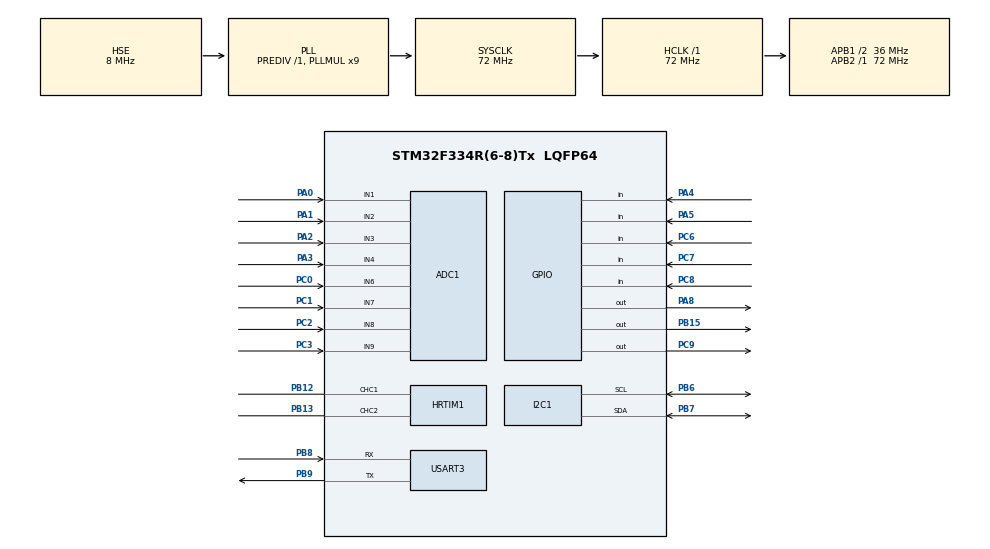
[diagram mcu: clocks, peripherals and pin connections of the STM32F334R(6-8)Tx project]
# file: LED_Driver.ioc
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ADC1.Channel-30\#ChannelRegularConversion=ADC_CHANNEL_4
ADC1.Channel-31\#ChannelRegularConversion=ADC_CHANNEL_8
ADC1.Channel-32\#ChannelRegularConversion=ADC_CHANNEL_7
ADC1.Channel-33\#ChannelRegularConversion=ADC_CHANNEL_TEMPSENSOR
ADC1.DMAContinuousRequests=ENABLE
ADC1.EOCSelection=ADC_EOC_SEQ_CONV
ADC1.EnableAnalogWatchDog1=false
ADC1.EnableInjectedConversion=DISABLE
ADC1.EnableRegularConversion=ENABLE
ADC1.ExternalTrigConv=ADC_EXTERNALTRIGCONVHRTIM_TRG1
ADC1.NbrOfConversion=4
ADC1.NbrOfConversionFlag=1
ADC1.Offset-30\#ChannelRegularConversion=0
ADC1.Offset-31\#ChannelRegularConversion=0
ADC1.Offset-32\#ChannelRegularConversion=0
ADC1.Offset-33\#ChannelRegularConversion=0
ADC1.OffsetNumber-30\#ChannelRegularConversion=ADC_OFFSET_NONE
ADC1.OffsetNumber-31\#ChannelRegularConversion=ADC_OFFSET_NONE
ADC1.OffsetNumber-32\#ChannelRegularConversion=ADC_OFFSET_NONE
ADC1.OffsetNumber-33\#ChannelRegularConversion=ADC_OFFSET_NONE
ADC1.Rank-30\#ChannelRegularConversion=1
ADC1.Rank-31\#ChannelRegularConversion=2
ADC1.Rank-32\#ChannelRegularConversion=3
ADC1.Rank-33\#ChannelRegularConversion=4
ADC1.SamplingTime-30\#ChannelRegularConversion=ADC_SAMPLETIME_61CYCLES_5
ADC1.SamplingTime-31\#ChannelRegularConversion=ADC_SAMPLETIME_61CYCLES_5
ADC1.SamplingTime-32\#ChannelRegularConversion=ADC_SAMPLETIME_61CYCLES_5
ADC1.SamplingTime-33\#ChannelRegularConversion=ADC_SAMPLETIME_61CYCLES_5
ADC1.SamplingTimeOPAMP-33\#ChannelRegularConversion=ADC_SAMPLETIME_61CYCLES_5
ADC1.SequencerNbRanks=0
ADC1.SubFamily=STM32F334x8
ADC1.master=1
Dma.ADC1.0.Direction=DMA_PERIPH_TO_MEMORY
Dma.ADC1.0.Instance=DMA1_Channel1
Dma.ADC1.0.MemDataAlignment=DMA_MDATAALIGN_HALFWORD
Dma.ADC1.0.MemInc=DMA_MINC_ENABLE
Dma.ADC1.0.Mode=DMA_CIRCULAR
Dma.ADC1.0.PeriphDataAlignment=DMA_PDATAALIGN_HALFWORD
Dma.ADC1.0.PeriphInc=DMA_PINC_DISABLE
Dma.ADC1.0.Priority=DMA_PRIORITY_VERY_HIGH
Dma.Request0=ADC1
HRTIM1.ADCTrigger1_Source1=HRTIM_ADCTRIGGEREVENT13_TIMERC_PERIOD
HRTIM1.ADCTrigger_Id1=HRTIM_ADCTRIGGER_1
HRTIM1.ADCTrigger_Id2=__NULL
HRTIM1.CompareUnit1-Output_TC1TC2=HRTIM_COMPAREUNIT_1
HRTIM1.CompareUnit2-Output_TC1TC2=HRTIM_COMPAREUNIT_2
HRTIM1.DeadTimeInsertion-Output_TC1TC2=HRTIM_TIMDEADTIMEINSERTION_ENABLED
HRTIM1.Deadtimeconfig-Output_TC1TC2=HRTIM_TIMERINDEX_TIMER_C
HRTIM1.Enable=HRTIM_BURSTMODECTL_DISABLED
HRTIM1.FallingValue-Output_TC1TC2=50
HRTIM1.NumberADCTriggerSource1=1
HRTIM1.NumberResetSource1-Output_TC1TC2=1
HRTIM1.NumberResetSource2_TC=0
HRTIM1.NumberSetSource1-Output_TC1TC2=1
HRTIM1.NumberSetSource2_TC=0
HRTIM1.Periode_TC=11520
HRTIM1.PrescalerRatio_TC=HRTIM_PRESCALERRATIO_MUL2
HRTIM1.ResetOutput1_Source1-Output_TC1TC2=HRTIM_OUTPUTRESET_TIMCMP2
HRTIM1.RisingValue-Output_TC1TC2=50
HRTIM1.SetOutput1_Source1-Output_TC1TC2=HRTIM_OUTPUTSET_TIMCMP1
IWDG.Prescaler=IWDG_PRESCALER_256
IWDG.Reload=1250
Mcu.Family=STM32F3
Mcu.Name=STM32F334R(6-8)Tx
Mcu.Package=LQFP64
NVIC.ADC1_2_IRQn=true\:0\:0\:false\:false\:true\:true\:true\:true
NVIC.DMA1_Channel1_IRQn=true\:2\:0\:true\:false\:true\:false\:true\:true
NVIC.PriorityGroup=NVIC_PRIORITYGROUP_4
NVIC.USART3_IRQn=true\:0\:0\:false\:false\:false\:true\:true\:true
PA0.Mode=IN1-Single-Ended
PA0.Signal=ADC1_IN1
PA1.Mode=IN2-Single-Ended
PA1.Signal=ADC1_IN2
PA13.Mode=JTAG_5_pins
PA13.Signal=SYS_JTMS-SWDIO
PA14.Mode=JTAG_5_pins
PA14.Signal=SYS_JTCK-SWCLK
PA15.Mode=JTAG_5_pins
PA15.Signal=SYS_JTDI
PA2.Mode=IN3-Single-Ended
PA2.Signal=ADC1_IN3
PA3.Mode=IN4-Single-Ended
PA3.Signal=ADC1_IN4
PA4.GPIO_PuPd=GPIO_PULLUP
PA4.Signal=GPIO_Input
PA5.GPIO_PuPd=GPIO_PULLUP
PA5.Signal=GPIO_Input
PA8.Signal=GPIO_Output
PB12.Mode=Output_TC1TC2
PB12.Signal=HRTIM1_CHC1
PB13.Mode=Output_TC1TC2
PB13.Signal=HRTIM1_CHC2
PB15.Signal=GPIO_Output
PB3.Mode=JTAG_5_pins
PB3.Signal=SYS_JTDO-TRACESWO
PB4.Mode=JTAG_5_pins
PB4.Signal=SYS_NJTRST
PB6.Mode=I2C
PB6.Signal=I2C1_SCL
PB7.Mode=I2C
PB7.Signal=I2C1_SDA
PB8.Mode=Asynchronous
PB8.Signal=USART3_RX
PB9.Mode=Asynchronous
PB9.Signal=USART3_TX
PC0.Signal=ADCx_IN6
PC1.Signal=ADCx_IN7
PC2.Signal=ADCx_IN8
PC3.Signal=ADCx_IN9
PC6.GPIO_PuPd=GPIO_PULLUP
PC6.Signal=GPIO_Input
PC7.GPIO_PuPd=GPIO_PULLUP
PC7.Signal=GPIO_Input
PC8.GPIO_PuPd=GPIO_PULLUP
PC8.Signal=GPIO_Input
PC9.Signal=GPIO_Output
PF0\ /\ OSC_IN.Mode=HSE-External-Oscillator
PF0\ /\ OSC_IN.Signal=RCC_OSC_IN
PF1\ /\ OSC_OUT.Mode=HSE-External-Oscillator
PF1\ /\ OSC_OUT.Signal=RCC_OSC_OUT
ProjectManager.HeapSize=0x200
ProjectManager.StackSize=0x400
ProjectManager.TargetToolchain=MDK-ARM V5.32
RCC.AHBFreq_Value=72000000
RCC.APB1CLKDivider=RCC_HCLK_DIV2
RCC.APB1Freq_Value=36000000
RCC.APB1TimFreq_Value=72000000
RCC.APB2Freq_Value=72000000
RCC.APB2TimFreq_Value=72000000
RCC.CortexFreq_Value=72000000
RCC.HCLKFreq_Value=72000000
RCC.HRTIMSelection=RCC_HRTIM1CLK_PLLCLK
RCC.HSE_VALUE=8000000
RCC.HSI_VALUE=8000000
RCC.LSE_VALUE=32768
RCC.PLLMUL=RCC_PLL_MUL9
RCC.PLLSourceVirtual=RCC_PLLSOURCE_HSE
RCC.SYSCLKFreq_VALUE=72000000
RCC.SYSCLKSourceVirtual=RCC_SYSCLKSOURCE_PLLCLK
SH.ADCx_IN6.0=ADC1_IN6,IN6-Single-Ended
SH.ADCx_IN7.0=ADC1_IN7,IN7-Single-Ended
SH.ADCx_IN8.0=ADC1_IN8,IN8-Single-Ended
SH.ADCx_IN9.0=ADC1_IN9,IN9-Single-Ended
STMicroelectronics.X-CUBE-ALGOBUILD.1.3.0.LibraryCcDSPOoLibraryJjDSPOoLibrary=true
TIM2.AutoReloadPreload=TIM_AUTORELOAD_PRELOAD_ENABLE
TIM2.Period=333
USART3.SwapParam=ADVFEATURE_SWAP_ENABLE
USART3.VirtualMode-Asynchronous=VM_ASYNC
VP_ADC1_TempSens_Input.Mode=IN-TempSens
VP_IWDG_VS_IWDG.Mode=IWDG_Activate
VP_STMicroelectronics.X-CUBE-ALGOBUILD_VS_DSPOoLibraryJjLibrary_1.3.0_1.3.0.Mode=DSPOoLibraryJjLibrary
VP_TIM2_VS_ClockSourceINT.Mode=Internal
board=custom

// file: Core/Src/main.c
/* USER CODE BEGIN Header */
/**
  ******************************************************************************
  * @file           : main.c
  * @brief          : Main program body
  ******************************************************************************
  * @attention
  *
  * Copyright (c) 2023 STMicroelectronics.
  * All rights reserved.
  *
  * This software is licensed under terms that can be found in the LICENSE file
  * in the root directory of this software component.
  * If no LICENSE file comes with this software, it is provided AS-IS.
  *
  ******************************************************************************
  */
/* USER CODE END Header */
#include "main.h"

/* USER CODE BEGIN Includes */
#include "Function.h"
/* USER CODE END Includes */

I2C_HandleTypeDef hi2c1;

IWDG_HandleTypeDef hiwdg;

TIM_HandleTypeDef htim2;

void SystemClock_Config(void);
static void MX_GPIO_Init(void);
static void MX_DMA_Init(void);
static void MX_ADC1_Init(void);
static void MX_HRTIM1_Init(void);
static void MX_I2C1_Init(void);
static void MX_USART3_UART_Init(void);
static void MX_TIM2_Init(void);
static void MX_IWDG_Init(void);

int main(void)
{

  /* MCU Configuration--------------------------------------------------------*/

  /* Reset of all peripherals, Initializes the Flash interface and the Systick. */
  HAL_Init();

  /* Configure the system clock */
  SystemClock_Config();

  /* Initialize all configured peripherals */
  MX_GPIO_Init();
  MX_DMA_Init();
  MX_ADC1_Init();
  MX_HRTIM1_Init();
  MX_I2C1_Init();
  MX_TIM2_Init();
  MX_IWDG_Init();
	MX_USART3_UART_Init();
  /* USER CODE BEGIN 2 */
  setup();
  /* USER CODE END 2 */

  /* Infinite loop */
  /* USER CODE BEGIN WHILE */
//清除所有错误标志
		LL_USART_ClearFlag_ORE(USART3);
		LL_USART_ClearFlag_FE(USART3);
		LL_USART_ClearFlag_NE(USART3);
//然后使能接收中断
		LL_USART_EnableIT_RXNE(USART3);
  while (1)
  {
		HAL_IWDG_Refresh(&hiwdg);  //喂狗
	  loop();
		//LL_USART_TransmitData8(USART3, 3);
    /* USER CODE END WHILE */

  }
}

void SystemClock_Config(void)
{
  RCC_OscInitTypeDef RCC_OscInitStruct = {0};
  RCC_ClkInitTypeDef RCC_ClkInitStruct = {0};
  RCC_PeriphCLKInitTypeDef PeriphClkInit = {0};

  /** Initializes the RCC Oscillators according to the specified parameters
  * in the RCC_OscInitTypeDef structure.
  */
  RCC_OscInitStruct.OscillatorType = RCC_OSCILLATORTYPE_HSI|RCC_OSCILLATORTYPE_LSI
                              |RCC_OSCILLATORTYPE_HSE;
  RCC_OscInitStruct.HSEState = RCC_HSE_ON;
  RCC_OscInitStruct.HSEPredivValue = RCC_HSE_PREDIV_DIV1;
  RCC_OscInitStruct.HSIState = RCC_HSI_ON;
  RCC_OscInitStruct.HSICalibrationValue = RCC_HSICALIBRATION_DEFAULT;
  RCC_OscInitStruct.LSIState = RCC_LSI_ON;
  RCC_OscInitStruct.PLL.PLLState = RCC_PLL_ON;
  RCC_OscInitStruct.PLL.PLLSource = RCC_PLLSOURCE_HSE;
  RCC_OscInitStruct.PLL.PLLMUL = RCC_PLL_MUL9;
  if (HAL_RCC_OscConfig(&RCC_OscInitStruct) != HAL_OK)
  {
    Error_Handler();
  }

  /** Initializes the CPU, AHB and APB buses clocks
  */
  RCC_ClkInitStruct.ClockType = RCC_CLOCKTYPE_HCLK|RCC_CLOCKTYPE_SYSCLK
                              |RCC_CLOCKTYPE_PCLK1|RCC_CLOCKTYPE_PCLK2;
  RCC_ClkInitStruct.SYSCLKSource = RCC_SYSCLKSOURCE_PLLCLK;
  RCC_ClkInitStruct.AHBCLKDivider = RCC_SYSCLK_DIV1;
  RCC_ClkInitStruct.APB1CLKDivider = RCC_HCLK_DIV2;
  RCC_ClkInitStruct.APB2CLKDivider = RCC_HCLK_DIV1;

  if (HAL_RCC_ClockConfig(&RCC_ClkInitStruct, FLASH_LATENCY_2) != HAL_OK)
  {
    Error_Handler();
  }
  PeriphClkInit.PeriphClockSelection = RCC_PERIPHCLK_HRTIM1|RCC_PERIPHCLK_I2C1
                              |RCC_PERIPHCLK_ADC12;
  PeriphClkInit.Adc12ClockSelection = RCC_ADC12PLLCLK_DIV1;
  PeriphClkInit.I2c1ClockSelection = RCC_I2C1CLKSOURCE_HSI;
  PeriphClkInit.Hrtim1ClockSelection = RCC_HRTIM1CLK_PLLCLK;
  if (HAL_RCCEx_PeriphCLKConfig(&PeriphClkInit) != HAL_OK)
  {
    Error_Handler();
  }
}

static void MX_ADC1_Init(void)
{

  LL_ADC_InitTypeDef ADC_InitStruct = {0};
  LL_ADC_REG_InitTypeDef ADC_REG_InitStruct = {0};
  LL_ADC_CommonInitTypeDef ADC_CommonInitStruct = {0};

  LL_GPIO_InitTypeDef GPIO_InitStruct = {0};

  /* Peripheral clock enable */
  LL_AHB1_GRP1_EnableClock(LL_AHB1_GRP1_PERIPH_ADC12);

  LL_AHB1_GRP1_EnableClock(LL_AHB1_GRP1_PERIPH_GPIOC);
  LL_AHB1_GRP1_EnableClock(LL_AHB1_GRP1_PERIPH_GPIOA);
  /**ADC1 GPIO Configuration
  PC0   ------> ADC1_IN6
  PC1   ------> ADC1_IN7
  PC2   ------> ADC1_IN8
  PC3   ------> ADC1_IN9
  PA0   ------> ADC1_IN1
  PA1   ------> ADC1_IN2
  PA2   ------> ADC1_IN3
  PA3   ------> ADC1_IN4
  */
  GPIO_InitStruct.Pin = LL_GPIO_PIN_0|LL_GPIO_PIN_1|LL_GPIO_PIN_2|LL_GPIO_PIN_3;
  GPIO_InitStruct.Mode = LL_GPIO_MODE_ANALOG;
  GPIO_InitStruct.Pull = LL_GPIO_PULL_NO;
  LL_GPIO_Init(GPIOC, &GPIO_InitStruct);

  GPIO_InitStruct.Pin = LL_GPIO_PIN_0|LL_GPIO_PIN_1|LL_GPIO_PIN_2|LL_GPIO_PIN_3;
  GPIO_InitStruct.Mode = LL_GPIO_MODE_ANALOG;
  GPIO_InitStruct.Pull = LL_GPIO_PULL_NO;
  LL_GPIO_Init(GPIOA, &GPIO_InitStruct);

  /* ADC1 DMA Init */

  /* ADC1 Init */
  LL_DMA_SetDataTransferDirection(DMA1, LL_DMA_CHANNEL_1, LL_DMA_DIRECTION_PERIPH_TO_MEMORY);

  LL_DMA_SetChannelPriorityLevel(DMA1, LL_DMA_CHANNEL_1, LL_DMA_PRIORITY_VERYHIGH);

  LL_DMA_SetMode(DMA1, LL_DMA_CHANNEL_1, LL_DMA_MODE_CIRCULAR);

  LL_DMA_SetPeriphIncMode(DMA1, LL_DMA_CHANNEL_1, LL_DMA_PERIPH_NOINCREMENT);

  LL_DMA_SetMemoryIncMode(DMA1, LL_DMA_CHANNEL_1, LL_DMA_MEMORY_INCREMENT);

  LL_DMA_SetPeriphSize(DMA1, LL_DMA_CHANNEL_1, LL_DMA_PDATAALIGN_HALFWORD);

  LL_DMA_SetMemorySize(DMA1, LL_DMA_CHANNEL_1, LL_DMA_MDATAALIGN_HALFWORD);

  /* ADC1 interrupt Init */
  NVIC_SetPriority(ADC1_2_IRQn, NVIC_EncodePriority(NVIC_GetPriorityGrouping(),0, 0));
  NVIC_EnableIRQ(ADC1_2_IRQn);

  /** Common config
  */
  ADC_InitStruct.Resolution = LL_ADC_RESOLUTION_12B;
  ADC_InitStruct.DataAlignment = LL_ADC_DATA_ALIGN_RIGHT;
  ADC_InitStruct.LowPowerMode = LL_ADC_LP_MODE_NONE;
  LL_ADC_Init(ADC1, &ADC_InitStruct);
  ADC_REG_InitStruct.TriggerSource = LL_ADC_REG_TRIG_EXT_HRTIM_TRG1;
  ADC_REG_InitStruct.SequencerLength = LL_ADC_REG_SEQ_SCAN_ENABLE_4RANKS;
  ADC_REG_InitStruct.SequencerDiscont = LL_ADC_REG_SEQ_DISCONT_DISABLE;
  ADC_REG_InitStruct.ContinuousMode = LL_ADC_REG_CONV_SINGLE;
  ADC_REG_InitStruct.DMATransfer = LL_ADC_REG_DMA_TRANSFER_UNLIMITED;
  ADC_REG_InitStruct.Overrun = LL_ADC_REG_OVR_DATA_OVERWRITTEN;
  LL_ADC_REG_Init(ADC1, &ADC_REG_InitStruct);
  ADC_CommonInitStruct.CommonClock = LL_ADC_CLOCK_ASYNC_DIV1;
  ADC_CommonInitStruct.Multimode = LL_ADC_MULTI_INDEPENDENT;
  LL_ADC_CommonInit(__LL_ADC_COMMON_INSTANCE(ADC1), &ADC_CommonInitStruct);
  LL_ADC_REG_SetTriggerEdge(ADC1, LL_ADC_REG_TRIG_EXT_RISING);

  /* Enable ADC internal voltage regulator */
  LL_ADC_EnableInternalRegulator(ADC1);
  /* Delay for ADC internal voltage regulator stabilization. */
  /* Compute number of CPU cycles to wait for, from delay in us. */
  /* Note: Variable divided by 2 to compensate partially */
  /* CPU processing cycles (depends on compilation optimization). */
  /* Note: If system core clock frequency is below 200kHz, wait time */
  /* is only a few CPU processing cycles. */
  uint32_t wait_loop_index;
  wait_loop_index = ((LL_ADC_DELAY_INTERNAL_REGUL_STAB_US * (SystemCoreClock / (100000 * 2))) / 10);
  while(wait_loop_index != 0)
  {
    wait_loop_index--;
  }

  /** Configure Regular Channel
  */
  LL_ADC_REG_SetSequencerRanks(ADC1, LL_ADC_REG_RANK_1, LL_ADC_CHANNEL_4);
  LL_ADC_SetChannelSamplingTime(ADC1, LL_ADC_CHANNEL_4, LL_ADC_SAMPLINGTIME_61CYCLES_5);
  LL_ADC_SetChannelSingleDiff(ADC1, LL_ADC_CHANNEL_4, LL_ADC_SINGLE_ENDED);

  /** Configure Regular Channel
  */
  LL_ADC_REG_SetSequencerRanks(ADC1, LL_ADC_REG_RANK_2, LL_ADC_CHANNEL_8);
  LL_ADC_SetChannelSamplingTime(ADC1, LL_ADC_CHANNEL_8, LL_ADC_SAMPLINGTIME_61CYCLES_5);
  LL_ADC_SetChannelSingleDiff(ADC1, LL_ADC_CHANNEL_8, LL_ADC_SINGLE_ENDED);

  /** Configure Regular Channel
  */
  LL_ADC_REG_SetSequencerRanks(ADC1, LL_ADC_REG_RANK_3, LL_ADC_CHANNEL_7);
  LL_ADC_SetChannelSamplingTime(ADC1, LL_ADC_CHANNEL_7, LL_ADC_SAMPLINGTIME_61CYCLES_5);
  LL_ADC_SetChannelSingleDiff(ADC1, LL_ADC_CHANNEL_7, LL_ADC_SINGLE_ENDED);

  /** Configure Regular Channel
  */
  LL_ADC_REG_SetSequencerRanks(ADC1, LL_ADC_REG_RANK_4, LL_ADC_CHANNEL_TEMPSENSOR);
  LL_ADC_SetChannelSamplingTime(ADC1, LL_ADC_CHANNEL_TEMPSENSOR, LL_ADC_SAMPLINGTIME_61CYCLES_5);
  LL_ADC_SetChannelSingleDiff(ADC1, LL_ADC_CHANNEL_TEMPSENSOR, LL_ADC_SINGLE_ENDED);
  LL_ADC_SetCommonPathInternalCh(__LL_ADC_COMMON_INSTANCE(ADC1), LL_ADC_PATH_INTERNAL_TEMPSENSOR);

}

static void MX_HRTIM1_Init(void)
{

  LL_GPIO_InitTypeDef GPIO_InitStruct = {0};

  /* Peripheral clock enable */
  LL_APB2_GRP1_EnableClock(LL_APB2_GRP1_PERIPH_HRTIM1);

  LL_HRTIM_ConfigDLLCalibration(HRTIM1, LL_HRTIM_DLLCALIBRATION_MODE_CONTINUOUS, LL_HRTIM_DLLCALIBRATION_RATE_14);

  /* Poll for DLL end of calibration */
#if (USE_TIMEOUT == 1)
  uint32_t Timeout = 10; /* Timeout Initialization */
#endif  /*USE_TIMEOUT*/

  while(LL_HRTIM_IsActiveFlag_DLLRDY(HRTIM1) == RESET){
#if (USE_TIMEOUT == 1)
    if (LL_SYSTICK_IsActiveCounterFlag())  /* Check Systick counter flag to decrement the time-out value */
    {
        if(Timeout-- == 0)
        {
          Error_Handler();  /* error management */
        }
    }
#endif  /* USE_TIMEOUT */
  }

  LL_HRTIM_ConfigADCTrig(HRTIM1, LL_HRTIM_ADCTRIG_1, LL_HRTIM_ADCTRIG_UPDATE_TIMER_C, LL_HRTIM_ADCTRIG_SRC13_TIMCPER);
  LL_HRTIM_TIM_SetPrescaler(HRTIM1, LL_HRTIM_TIMER_C, LL_HRTIM_PRESCALERRATIO_MUL2);
  LL_HRTIM_TIM_SetCounterMode(HRTIM1, LL_HRTIM_TIMER_C, LL_HRTIM_MODE_CONTINUOUS);
  LL_HRTIM_TIM_SetPeriod(HRTIM1, LL_HRTIM_TIMER_C, 11520);
  LL_HRTIM_TIM_SetRepetition(HRTIM1, LL_HRTIM_TIMER_C, 0x00);
  LL_HRTIM_TIM_SetDACTrig(HRTIM1, LL_HRTIM_TIMER_C, LL_HRTIM_DACTRIG_NONE);
  LL_HRTIM_TIM_DisableHalfMode(HRTIM1, LL_HRTIM_TIMER_C);
  LL_HRTIM_TIM_DisableStartOnSync(HRTIM1, LL_HRTIM_TIMER_C);
  LL_HRTIM_TIM_DisableResetOnSync(HRTIM1, LL_HRTIM_TIMER_C);
  LL_HRTIM_TIM_DisablePreload(HRTIM1, LL_HRTIM_TIMER_C);
  LL_HRTIM_TIM_SetUpdateGating(HRTIM1, LL_HRTIM_TIMER_C, LL_HRTIM_UPDATEGATING_INDEPENDENT);
  LL_HRTIM_TIM_SetUpdateTrig(HRTIM1, LL_HRTIM_TIMER_C, LL_HRTIM_UPDATETRIG_NONE|LL_HRTIM_UPDATETRIG_NONE);
  LL_HRTIM_TIM_SetResetTrig(HRTIM1, LL_HRTIM_TIMER_C, LL_HRTIM_RESETTRIG_NONE);
  LL_HRTIM_TIM_DisablePushPullMode(HRTIM1, LL_HRTIM_TIMER_C);
  LL_HRTIM_TIM_EnableDeadTime(HRTIM1, LL_HRTIM_TIMER_C);
  LL_HRTIM_TIM_SetBurstModeOption(HRTIM1, LL_HRTIM_TIMER_C, LL_HRTIM_BURSTMODE_MAINTAINCLOCK);
  LL_HRTIM_ForceUpdate(HRTIM1, LL_HRTIM_TIMER_C);
  LL_HRTIM_TIM_SetCompare1(HRTIM1, LL_HRTIM_TIMER_C, 0xFFFD);
  LL_HRTIM_TIM_SetCompare2(HRTIM1, LL_HRTIM_TIMER_C, 0xFFFD);
  LL_HRTIM_TIM_SetCompareMode(HRTIM1, LL_HRTIM_TIMER_C, LL_HRTIM_COMPAREUNIT_2, LL_HRTIM_COMPAREMODE_REGULAR);
  LL_HRTIM_DT_SetPrescaler(HRTIM1, LL_HRTIM_TIMER_C, LL_HRTIM_DT_PRESCALER_MUL8);
  LL_HRTIM_DT_SetRisingValue(HRTIM1, LL_HRTIM_TIMER_C, 50);
  LL_HRTIM_DT_SetRisingSign(HRTIM1, LL_HRTIM_TIMER_C, LL_HRTIM_DT_RISING_POSITIVE);
  LL_HRTIM_DT_SetFallingValue(HRTIM1, LL_HRTIM_TIMER_C, 50);
  LL_HRTIM_DT_SetFallingSign(HRTIM1, LL_HRTIM_TIMER_C, LL_HRTIM_DT_FALLING_POSITIVE);
  LL_HRTIM_OUT_SetPolarity(HRTIM1, LL_HRTIM_OUTPUT_TC1, LL_HRTIM_OUT_POSITIVE_POLARITY);
  LL_HRTIM_OUT_SetOutputSetSrc(HRTIM1, LL_HRTIM_OUTPUT_TC1, LL_HRTIM_CROSSBAR_TIMCMP1);
  LL_HRTIM_OUT_SetOutputResetSrc(HRTIM1, LL_HRTIM_OUTPUT_TC1, LL_HRTIM_CROSSBAR_TIMCMP2);
  LL_HRTIM_OUT_SetIdleMode(HRTIM1, LL_HRTIM_OUTPUT_TC1, LL_HRTIM_OUT_NO_IDLE);
  LL_HRTIM_OUT_SetIdleLevel(HRTIM1, LL_HRTIM_OUTPUT_TC1, LL_HRTIM_OUT_IDLELEVEL_INACTIVE);
  LL_HRTIM_OUT_SetFaultState(HRTIM1, LL_HRTIM_OUTPUT_TC1, LL_HRTIM_OUT_FAULTSTATE_NO_ACTION);
  LL_HRTIM_OUT_SetChopperMode(HRTIM1, LL_HRTIM_OUTPUT_TC1, LL_HRTIM_OUT_CHOPPERMODE_DISABLED);
  LL_HRTIM_OUT_SetPolarity(HRTIM1, LL_HRTIM_OUTPUT_TC2, LL_HRTIM_OUT_POSITIVE_POLARITY);
  LL_HRTIM_OUT_SetOutputSetSrc(HRTIM1, LL_HRTIM_OUTPUT_TC2, LL_HRTIM_CROSSBAR_NONE);
  LL_HRTIM_OUT_SetOutputResetSrc(HRTIM1, LL_HRTIM_OUTPUT_TC2, LL_HRTIM_CROSSBAR_NONE);
  LL_HRTIM_OUT_SetIdleMode(HRTIM1, LL_HRTIM_OUTPUT_TC2, LL_HRTIM_OUT_NO_IDLE);
  LL_HRTIM_OUT_SetIdleLevel(HRTIM1, LL_HRTIM_OUTPUT_TC2, LL_HRTIM_OUT_IDLELEVEL_INACTIVE);
  LL_HRTIM_OUT_SetFaultState(HRTIM1, LL_HRTIM_OUTPUT_TC2, LL_HRTIM_OUT_FAULTSTATE_NO_ACTION);
  LL_HRTIM_OUT_SetChopperMode(HRTIM1, LL_HRTIM_OUTPUT_TC2, LL_HRTIM_OUT_CHOPPERMODE_DISABLED);
  LL_AHB1_GRP1_EnableClock(LL_AHB1_GRP1_PERIPH_GPIOB);
  /**HRTIM1 GPIO Configuration
  PB12   ------> HRTIM1_CHC1
  PB13   ------> HRTIM1_CHC2
  */
  GPIO_InitStruct.Pin = LL_GPIO_PIN_12|LL_GPIO_PIN_13;
  GPIO_InitStruct.Mode = LL_GPIO_MODE_ALTERNATE;
  GPIO_InitStruct.Speed = LL_GPIO_SPEED_FREQ_HIGH;
  GPIO_InitStruct.OutputType = LL_GPIO_OUTPUT_PUSHPULL;
  GPIO_InitStruct.Pull = LL_GPIO_PULL_NO;
  GPIO_InitStruct.Alternate = LL_GPIO_AF_13;
  LL_GPIO_Init(GPIOB, &GPIO_InitStruct);

}

static void MX_I2C1_Init(void)
{

  hi2c1.Instance = I2C1;
  hi2c1.Init.Timing = 0x2000090E;
  hi2c1.Init.OwnAddress1 = 0;
  hi2c1.Init.AddressingMode = I2C_ADDRESSINGMODE_7BIT;
  hi2c1.Init.DualAddressMode = I2C_DUALADDRESS_DISABLE;
  hi2c1.Init.OwnAddress2 = 0;
  hi2c1.Init.OwnAddress2Masks = I2C_OA2_NOMASK;
  hi2c1.Init.GeneralCallMode = I2C_GENERALCALL_DISABLE;
  hi2c1.Init.NoStretchMode = I2C_NOSTRETCH_DISABLE;
  if (HAL_I2C_Init(&hi2c1) != HAL_OK)
  {
    Error_Handler();
  }

  /** Configure Analogue filter
  */
  if (HAL_I2CEx_ConfigAnalogFilter(&hi2c1, I2C_ANALOGFILTER_ENABLE) != HAL_OK)
  {
    Error_Handler();
  }

  /** Configure Digital filter
  */
  if (HAL_I2CEx_ConfigDigitalFilter(&hi2c1, 0) != HAL_OK)
  {
    Error_Handler();
  }

}

static void MX_IWDG_Init(void)
{

  hiwdg.Instance = IWDG;
  hiwdg.Init.Prescaler = IWDG_PRESCALER_256;
  hiwdg.Init.Window = 4095;
  hiwdg.Init.Reload = 1250;
  if (HAL_IWDG_Init(&hiwdg) != HAL_OK)
  {
    Error_Handler();
  }

}

static void MX_TIM2_Init(void)
{

  TIM_ClockConfigTypeDef sClockSourceConfig = {0};
  TIM_MasterConfigTypeDef sMasterConfig = {0};

  /* USER CODE BEGIN TIM2_Init 1 */
  htim2.Instance = TIM2;
  htim2.Init.Prescaler = SystemCoreClock/1000000-1;//71
  /* USER CODE END TIM2_Init 1 */
  htim2.Init.CounterMode = TIM_COUNTERMODE_UP;
  htim2.Init.Period = 333;
  htim2.Init.ClockDivision = TIM_CLOCKDIVISION_DIV1;
  htim2.Init.AutoReloadPreload = TIM_AUTORELOAD_PRELOAD_ENABLE;
  if (HAL_TIM_Base_Init(&htim2) != HAL_OK)
  {
    Error_Handler();
  }
  sClockSourceConfig.ClockSource = TIM_CLOCKSOURCE_INTERNAL;
  if (HAL_TIM_ConfigClockSource(&htim2, &sClockSourceConfig) != HAL_OK)
  {
    Error_Handler();
  }
  sMasterConfig.MasterOutputTrigger = TIM_TRGO_RESET;
  sMasterConfig.MasterSlaveMode = TIM_MASTERSLAVEMODE_DISABLE;
  if (HAL_TIMEx_MasterConfigSynchronization(&htim2, &sMasterConfig) != HAL_OK)
  {
    Error_Handler();
  }
  /* USER CODE BEGIN TIM2_Init 2 */
    HAL_TIM_Base_Init(&htim2);

    sClockSourceConfig.ClockSource = TIM_CLOCKSOURCE_INTERNAL;
    HAL_TIM_ConfigClockSource(&htim2, &sClockSourceConfig);

    sMasterConfig.MasterOutputTrigger = TIM_TRGO_RESET;
    sMasterConfig.MasterSlaveMode = TIM_MASTERSLAVEMODE_DISABLE;
    HAL_TIMEx_MasterConfigSynchronization(&htim2, &sMasterConfig);

    HAL_NVIC_SetPriority(TIM2_IRQn, 1, 0);
    HAL_NVIC_EnableIRQ(TIM2_IRQn);
  /* USER CODE END TIM2_Init 2 */

}

static void MX_USART3_UART_Init(void)
{

  LL_USART_InitTypeDef USART_InitStruct = {0};

  LL_GPIO_InitTypeDef GPIO_InitStruct = {0};

  /* Peripheral clock enable */
  LL_APB1_GRP1_EnableClock(LL_APB1_GRP1_PERIPH_USART3);

  LL_AHB1_GRP1_EnableClock(LL_AHB1_GRP1_PERIPH_GPIOB);
  /**USART3 GPIO Configuration
  PB8   ------> USART3_RX
  PB9   ------> USART3_TX
  */
  GPIO_InitStruct.Pin = LL_GPIO_PIN_8|LL_GPIO_PIN_9;
  GPIO_InitStruct.Mode = LL_GPIO_MODE_ALTERNATE;
  GPIO_InitStruct.Speed = LL_GPIO_SPEED_FREQ_HIGH;
  GPIO_InitStruct.OutputType = LL_GPIO_OUTPUT_PUSHPULL;
  GPIO_InitStruct.Pull = LL_GPIO_PULL_NO;
  GPIO_InitStruct.Alternate = LL_GPIO_AF_7;
  LL_GPIO_Init(GPIOB, &GPIO_InitStruct);

  /* USART3 interrupt Init */
  NVIC_SetPriority(USART3_IRQn, NVIC_EncodePriority(NVIC_GetPriorityGrouping(),0, 0));
  NVIC_EnableIRQ(USART3_IRQn);

  USART_InitStruct.BaudRate = 38400;
  USART_InitStruct.DataWidth = LL_USART_DATAWIDTH_8B;
  USART_InitStruct.StopBits = LL_USART_STOPBITS_1;
  USART_InitStruct.Parity = LL_USART_PARITY_NONE;
  USART_InitStruct.TransferDirection = LL_USART_DIRECTION_TX_RX;
  USART_InitStruct.HardwareFlowControl = LL_USART_HWCONTROL_NONE;
  USART_InitStruct.OverSampling = LL_USART_OVERSAMPLING_16;
  LL_USART_Init(USART3, &USART_InitStruct);
  LL_USART_DisableIT_CTS(USART3);
  LL_USART_SetTXRXSwap(USART3, LL_USART_TXRX_SWAPPED);
  LL_USART_ConfigAsyncMode(USART3);
  LL_USART_Enable(USART3);

}

static void MX_DMA_Init(void)
{

  /* DMA controller clock enable */
  __HAL_RCC_DMA1_CLK_ENABLE();

  /* DMA interrupt init */
  /* DMA1_Channel1_IRQn interrupt configuration */
  NVIC_SetPriority(DMA1_Channel1_IRQn, NVIC_EncodePriority(NVIC_GetPriorityGrouping(),2, 0));
  NVIC_EnableIRQ(DMA1_Channel1_IRQn);

}

static void MX_GPIO_Init(void)
{
  GPIO_InitTypeDef GPIO_InitStruct = {0};

  /* GPIO Ports Clock Enable */
  __HAL_RCC_GPIOF_CLK_ENABLE();
  __HAL_RCC_GPIOC_CLK_ENABLE();
  __HAL_RCC_GPIOA_CLK_ENABLE();
  __HAL_RCC_GPIOB_CLK_ENABLE();

  /*Configure GPIO pin Output Level */
  HAL_GPIO_WritePin(GPIOB, GPIO_PIN_15, GPIO_PIN_RESET);

  /*Configure GPIO pin Output Level */
  HAL_GPIO_WritePin(GPIOC, GPIO_PIN_9, GPIO_PIN_RESET);

  /*Configure GPIO pin Output Level */
  HAL_GPIO_WritePin(GPIOA, GPIO_PIN_8, GPIO_PIN_RESET);

  /*Configure GPIO pins : PA4 PA5 */
  GPIO_InitStruct.Pin = GPIO_PIN_4|GPIO_PIN_5;
  GPIO_InitStruct.Mode = GPIO_MODE_INPUT;
  GPIO_InitStruct.Pull = GPIO_PULLUP;
  HAL_GPIO_Init(GPIOA, &GPIO_InitStruct);

  /*Configure GPIO pin : PB15 */
  GPIO_InitStruct.Pin = GPIO_PIN_15;
  GPIO_InitStruct.Mode = GPIO_MODE_OUTPUT_PP;
  GPIO_InitStruct.Pull = GPIO_NOPULL;
  GPIO_InitStruct.Speed = GPIO_SPEED_FREQ_LOW;
  HAL_GPIO_Init(GPIOB, &GPIO_InitStruct);

  /*Configure GPIO pins : PC6 PC7 PC8 */
  GPIO_InitStruct.Pin = GPIO_PIN_6|GPIO_PIN_7|GPIO_PIN_8;
  GPIO_InitStruct.Mode = GPIO_MODE_INPUT;
  GPIO_InitStruct.Pull = GPIO_PULLUP;
  HAL_GPIO_Init(GPIOC, &GPIO_InitStruct);

  /*Configure GPIO pin : PC9 */
  GPIO_InitStruct.Pin = GPIO_PIN_9;
  GPIO_InitStruct.Mode = GPIO_MODE_OUTPUT_PP;
  GPIO_InitStruct.Pull = GPIO_NOPULL;
  GPIO_InitStruct.Speed = GPIO_SPEED_FREQ_LOW;
  HAL_GPIO_Init(GPIOC, &GPIO_InitStruct);

  /*Configure GPIO pin : PA8 */
  GPIO_InitStruct.Pin = GPIO_PIN_8;
  GPIO_InitStruct.Mode = GPIO_MODE_OUTPUT_PP;
  GPIO_InitStruct.Pull = GPIO_NOPULL;
  GPIO_InitStruct.Speed = GPIO_SPEED_FREQ_LOW;
  HAL_GPIO_Init(GPIOA, &GPIO_InitStruct);

}

void Error_Handler(void)
{
  __disable_irq();
  while (1)
  {
  }
}
